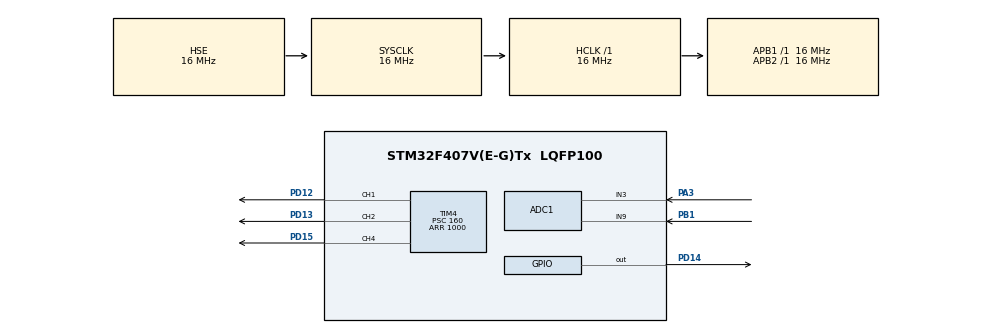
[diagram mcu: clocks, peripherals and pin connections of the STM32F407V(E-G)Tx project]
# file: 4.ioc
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ADC1.Channel-1\#ChannelRegularConversion=ADC_CHANNEL_9
ADC1.Channel-7\#ChannelInjectedConversion=ADC_CHANNEL_TEMPSENSOR
ADC1.Channel-8\#ChannelInjectedConversion=ADC_CHANNEL_3
ADC1.ContinuousConvMode=ENABLE
ADC1.EOCSelection=ADC_EOC_SINGLE_CONV
ADC1.ExternalTrigConv=ADC_SOFTWARE_START
ADC1.InjNumberOfConversion=2
ADC1.InjectedConvMode=AutoInjected
ADC1.InjectedOffset-7\#ChannelInjectedConversion=0
ADC1.InjectedOffset-8\#ChannelInjectedConversion=0
ADC1.InjectedRank-7\#ChannelInjectedConversion=1
ADC1.InjectedRank-8\#ChannelInjectedConversion=2
ADC1.NbrOfConversion=1
ADC1.NbrOfConversionFlag=1
ADC1.Rank-1\#ChannelRegularConversion=1
ADC1.SamplingTime-1\#ChannelRegularConversion=ADC_SAMPLETIME_480CYCLES
ADC1.SamplingTime-7\#ChannelInjectedConversion=ADC_SAMPLETIME_480CYCLES
ADC1.SamplingTime-8\#ChannelInjectedConversion=ADC_SAMPLETIME_480CYCLES
ADC1.master=1
Mcu.Family=STM32F4
Mcu.Name=STM32F407V(E-G)Tx
Mcu.Package=LQFP100
NVIC.ADC_IRQn=true\:0\:0\:false\:false\:true\:true\:true
NVIC.PriorityGroup=NVIC_PRIORITYGROUP_4
NVIC.RCC_IRQn=true\:0\:0\:false\:false\:true\:true\:false
NVIC.TIM3_IRQn=true\:0\:0\:false\:false\:true\:true\:true
NVIC.TIM4_IRQn=true\:0\:0\:false\:false\:true\:true\:true
PA3.Signal=ADCx_IN3
PB1.Signal=ADCx_IN9
PD12.Signal=S_TIM4_CH1
PD13.Signal=S_TIM4_CH2
PD14.Signal=GPIO_Output
PD15.Signal=S_TIM4_CH4
PH0-OSC_IN.Mode=HSE-External-Oscillator
PH0-OSC_IN.Signal=RCC_OSC_IN
PH1-OSC_OUT.Mode=HSE-External-Oscillator
PH1-OSC_OUT.Signal=RCC_OSC_OUT
ProjectManager.HeapSize=0x200
ProjectManager.StackSize=0x400
ProjectManager.TargetToolchain=STM32CubeIDE
RCC.AHBFreq_Value=16000000
RCC.APB1Freq_Value=16000000
RCC.APB2Freq_Value=16000000
RCC.CortexFreq_Value=16000000
RCC.HSE_VALUE=16000000
RCC.HSI_VALUE=16000000
RCC.LSE_VALUE=32768
RCC.PLLSourceVirtual=RCC_PLLSOURCE_HSE
RCC.SYSCLKFreq_VALUE=16000000
RCC.SYSCLKSource=RCC_SYSCLKSOURCE_HSE
RCC.VCOOutputFreq_Value=192000000
SH.ADCx_IN3.0=ADC1_IN3,IN3
SH.ADCx_IN9.0=ADC1_IN9,IN9
SH.S_TIM4_CH1.0=TIM4_CH1,PWM Generation1 CH1
SH.S_TIM4_CH2.0=TIM4_CH2,PWM Generation2 CH2
SH.S_TIM4_CH4.0=TIM4_CH4,PWM Generation4 CH4
TIM3.AutoReloadPreload=TIM_AUTORELOAD_PRELOAD_ENABLE
TIM3.Period=500
TIM3.Prescaler=16000
TIM4.AutoReloadPreload=TIM_AUTORELOAD_PRELOAD_ENABLE
TIM4.Channel-PWM\ Generation1\ CH1=TIM_CHANNEL_1
TIM4.Channel-PWM\ Generation2\ CH2=TIM_CHANNEL_2
TIM4.Channel-PWM\ Generation4\ CH4=TIM_CHANNEL_4
TIM4.OCFastMode_PWM-PWM\ Generation1\ CH1=TIM_OCFAST_ENABLE
TIM4.OCFastMode_PWM-PWM\ Generation2\ CH2=TIM_OCFAST_ENABLE
TIM4.Period=1000
TIM4.Prescaler=160
TIM4.Pulse-PWM\ Generation1\ CH1=500
TIM4.Pulse-PWM\ Generation2\ CH2=500
TIM4.Pulse-PWM\ Generation4\ CH4=500
VP_ADC1_TempSens_Input.Mode=IN-TempSens
VP_TIM3_VS_ClockSourceINT.Mode=Internal
board=custom

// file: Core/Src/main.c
/* USER CODE BEGIN Header */
/**
 ******************************************************************************
 * @file           : main.c
 * @brief          : Main program body
 ******************************************************************************
 * @attention
 *
 * <h2><center>&copy; Copyright (c) 2021 STMicroelectronics.
 * All rights reserved.</center></h2>
 *
 * This software component is licensed by ST under BSD 3-Clause license,
 * the "License"; You may not use this file except in compliance with the
 * License. You may obtain a copy of the License at:
 *                        opensource.org/licenses/BSD-3-Clause
 *
 ******************************************************************************
 */
/* USER CODE END Header */
#include "main.h"

ADC_HandleTypeDef hadc1;

TIM_HandleTypeDef htim3;
TIM_HandleTypeDef htim4;

void SystemClock_Config(void);
static void MX_GPIO_Init(void);
static void MX_ADC1_Init(void);
static void MX_TIM4_Init(void);
static void MX_TIM3_Init(void);
void IsAlert(uint16_t volt, uint16_t max, uint8_t *alert);

/* USER CODE BEGIN 0 */
uint16_t volt[3] = { 0 };
/* USER CODE END 0 */

int main(void)
{

  /* MCU Configuration--------------------------------------------------------*/

  /* Reset of all peripherals, Initializes the Flash interface and the Systick. */
  HAL_Init();

  /* Configure the system clock */
  SystemClock_Config();

  /* Initialize all configured peripherals */
  MX_GPIO_Init();
  MX_ADC1_Init();
  MX_TIM4_Init();
  MX_TIM3_Init();
  /* USER CODE BEGIN 2 */
	uint16_t max_volt[3] = { 2100, 1140, 4000 };
	uint16_t min_volt[3] = { 1500, 1040, 10 };
	uint16_t dng_lvl[3] = {8000, 3200, 1600};
	uint8_t alert[3] = { 0 };
	enum {
		In_9,
		In_16,
		In_3,
	};

	HAL_ADC_Start_IT(&hadc1);
	HAL_TIM_PWM_Start(&htim4, TIM_CHANNEL_1);
	HAL_TIM_PWM_Start(&htim4, TIM_CHANNEL_2);
	HAL_TIM_PWM_Start(&htim4, TIM_CHANNEL_4);
  /* USER CODE END 2 */

  /* Infinite loop */
  /* USER CODE BEGIN WHILE */
	while (1) {
//alert situation
		if (alert[In_9] || alert[In_3] || alert[In_16] != 0) {
			switch(alert[In_9] + alert[In_3] + alert[In_16]) {
				case 1:
					TIM3->PSC = dng_lvl[0];
					break;
				case 2:
					TIM3->PSC = dng_lvl[1];
					break;
				case 3:
					TIM3->PSC = dng_lvl[2];
					break;
			}
			HAL_TIM_Base_Start_IT(&htim3);
		} else {
			HAL_TIM_Base_Stop_IT(&htim3);
			HAL_GPIO_WritePin(GPIOD, GPIO_PIN_14, GPIO_PIN_RESET);
		}

//external resistor/volt falling
		if(max_volt[In_9] - volt[In_9] <= 0)
			TIM4->CCR1 = 0;
		else
			TIM4->CCR1 = (max_volt[In_9] - volt[In_9]) * (1.6);
		IsAlert(min_volt[In_9], volt[In_9], &alert[In_9]);

//internal resistor/volt rising
		if(volt[In_16] - min_volt[In_16] <= 0)
			TIM4->CCR2 = 0;
		else
			TIM4->CCR2 = (volt[In_16] - min_volt[In_16]) * (10);
		IsAlert(volt[In_16], max_volt[In_16], &alert[In_16]);

//potentiometer/volt rising
		TIM4->CCR4 = volt[In_3] / 4;
		IsAlert(volt[In_3], max_volt[In_3], &alert[In_3]);

    /* USER CODE END WHILE */

	}
}

void SystemClock_Config(void)
{
  RCC_OscInitTypeDef RCC_OscInitStruct = {0};
  RCC_ClkInitTypeDef RCC_ClkInitStruct = {0};

  /** Configure the main internal regulator output voltage
  */
  __HAL_RCC_PWR_CLK_ENABLE();
  __HAL_PWR_VOLTAGESCALING_CONFIG(PWR_REGULATOR_VOLTAGE_SCALE1);
  /** Initializes the RCC Oscillators according to the specified parameters
  * in the RCC_OscInitTypeDef structure.
  */
  RCC_OscInitStruct.OscillatorType = RCC_OSCILLATORTYPE_HSE;
  RCC_OscInitStruct.HSEState = RCC_HSE_ON;
  RCC_OscInitStruct.PLL.PLLState = RCC_PLL_NONE;
  if (HAL_RCC_OscConfig(&RCC_OscInitStruct) != HAL_OK)
  {
    Error_Handler();
  }
  /** Initializes the CPU, AHB and APB buses clocks
  */
  RCC_ClkInitStruct.ClockType = RCC_CLOCKTYPE_HCLK|RCC_CLOCKTYPE_SYSCLK
                              |RCC_CLOCKTYPE_PCLK1|RCC_CLOCKTYPE_PCLK2;
  RCC_ClkInitStruct.SYSCLKSource = RCC_SYSCLKSOURCE_HSE;
  RCC_ClkInitStruct.AHBCLKDivider = RCC_SYSCLK_DIV1;
  RCC_ClkInitStruct.APB1CLKDivider = RCC_HCLK_DIV1;
  RCC_ClkInitStruct.APB2CLKDivider = RCC_HCLK_DIV1;

  if (HAL_RCC_ClockConfig(&RCC_ClkInitStruct, FLASH_LATENCY_0) != HAL_OK)
  {
    Error_Handler();
  }
}

static void MX_ADC1_Init(void)
{

  ADC_ChannelConfTypeDef sConfig = {0};
  ADC_InjectionConfTypeDef sConfigInjected = {0};

  /** Configure the global features of the ADC (Clock, Resolution, Data Alignment and number of conversion)
  */
  hadc1.Instance = ADC1;
  hadc1.Init.ClockPrescaler = ADC_CLOCK_SYNC_PCLK_DIV2;
  hadc1.Init.Resolution = ADC_RESOLUTION_12B;
  hadc1.Init.ScanConvMode = ENABLE;
  hadc1.Init.ContinuousConvMode = ENABLE;
  hadc1.Init.DiscontinuousConvMode = DISABLE;
  hadc1.Init.ExternalTrigConvEdge = ADC_EXTERNALTRIGCONVEDGE_NONE;
  hadc1.Init.ExternalTrigConv = ADC_SOFTWARE_START;
  hadc1.Init.DataAlign = ADC_DATAALIGN_RIGHT;
  hadc1.Init.NbrOfConversion = 1;
  hadc1.Init.DMAContinuousRequests = DISABLE;
  hadc1.Init.EOCSelection = ADC_EOC_SINGLE_CONV;
  if (HAL_ADC_Init(&hadc1) != HAL_OK)
  {
    Error_Handler();
  }
  /** Configure for the selected ADC regular channel its corresponding rank in the sequencer and its sample time.
  */
  sConfig.Channel = ADC_CHANNEL_9;
  sConfig.Rank = 1;
  sConfig.SamplingTime = ADC_SAMPLETIME_480CYCLES;
  if (HAL_ADC_ConfigChannel(&hadc1, &sConfig) != HAL_OK)
  {
    Error_Handler();
  }
  /** Configures for the selected ADC injected channel its corresponding rank in the sequencer and its sample time
  */
  sConfigInjected.InjectedChannel = ADC_CHANNEL_TEMPSENSOR;
  sConfigInjected.InjectedRank = 1;
  sConfigInjected.InjectedNbrOfConversion = 2;
  sConfigInjected.InjectedSamplingTime = ADC_SAMPLETIME_480CYCLES;
  sConfigInjected.ExternalTrigInjecConvEdge = ADC_EXTERNALTRIGINJECCONVEDGE_NONE;
  sConfigInjected.ExternalTrigInjecConv = ADC_INJECTED_SOFTWARE_START;
  sConfigInjected.AutoInjectedConv = ENABLE;
  sConfigInjected.InjectedDiscontinuousConvMode = DISABLE;
  sConfigInjected.InjectedOffset = 0;
  if (HAL_ADCEx_InjectedConfigChannel(&hadc1, &sConfigInjected) != HAL_OK)
  {
    Error_Handler();
  }
  /** Configures for the selected ADC injected channel its corresponding rank in the sequencer and its sample time
  */
  sConfigInjected.InjectedChannel = ADC_CHANNEL_3;
  sConfigInjected.InjectedRank = 2;
  if (HAL_ADCEx_InjectedConfigChannel(&hadc1, &sConfigInjected) != HAL_OK)
  {
    Error_Handler();
  }

}

static void MX_TIM3_Init(void)
{

  TIM_ClockConfigTypeDef sClockSourceConfig = {0};
  TIM_MasterConfigTypeDef sMasterConfig = {0};

  htim3.Instance = TIM3;
  htim3.Init.Prescaler = 16000;
  htim3.Init.CounterMode = TIM_COUNTERMODE_UP;
  htim3.Init.Period = 500;
  htim3.Init.ClockDivision = TIM_CLOCKDIVISION_DIV1;
  htim3.Init.AutoReloadPreload = TIM_AUTORELOAD_PRELOAD_ENABLE;
  if (HAL_TIM_Base_Init(&htim3) != HAL_OK)
  {
    Error_Handler();
  }
  sClockSourceConfig.ClockSource = TIM_CLOCKSOURCE_INTERNAL;
  if (HAL_TIM_ConfigClockSource(&htim3, &sClockSourceConfig) != HAL_OK)
  {
    Error_Handler();
  }
  sMasterConfig.MasterOutputTrigger = TIM_TRGO_RESET;
  sMasterConfig.MasterSlaveMode = TIM_MASTERSLAVEMODE_DISABLE;
  if (HAL_TIMEx_MasterConfigSynchronization(&htim3, &sMasterConfig) != HAL_OK)
  {
    Error_Handler();
  }

}

static void MX_TIM4_Init(void)
{

  TIM_MasterConfigTypeDef sMasterConfig = {0};
  TIM_OC_InitTypeDef sConfigOC = {0};

  htim4.Instance = TIM4;
  htim4.Init.Prescaler = 160;
  htim4.Init.CounterMode = TIM_COUNTERMODE_UP;
  htim4.Init.Period = 1000;
  htim4.Init.ClockDivision = TIM_CLOCKDIVISION_DIV1;
  htim4.Init.AutoReloadPreload = TIM_AUTORELOAD_PRELOAD_ENABLE;
  if (HAL_TIM_PWM_Init(&htim4) != HAL_OK)
  {
    Error_Handler();
  }
  sMasterConfig.MasterOutputTrigger = TIM_TRGO_RESET;
  sMasterConfig.MasterSlaveMode = TIM_MASTERSLAVEMODE_DISABLE;
  if (HAL_TIMEx_MasterConfigSynchronization(&htim4, &sMasterConfig) != HAL_OK)
  {
    Error_Handler();
  }
  sConfigOC.OCMode = TIM_OCMODE_PWM1;
  sConfigOC.Pulse = 500;
  sConfigOC.OCPolarity = TIM_OCPOLARITY_HIGH;
  sConfigOC.OCFastMode = TIM_OCFAST_ENABLE;
  if (HAL_TIM_PWM_ConfigChannel(&htim4, &sConfigOC, TIM_CHANNEL_1) != HAL_OK)
  {
    Error_Handler();
  }
  if (HAL_TIM_PWM_ConfigChannel(&htim4, &sConfigOC, TIM_CHANNEL_2) != HAL_OK)
  {
    Error_Handler();
  }
  sConfigOC.OCFastMode = TIM_OCFAST_DISABLE;
  if (HAL_TIM_PWM_ConfigChannel(&htim4, &sConfigOC, TIM_CHANNEL_4) != HAL_OK)
  {
    Error_Handler();
  }
  HAL_TIM_MspPostInit(&htim4);

}

static void MX_GPIO_Init(void)
{
  GPIO_InitTypeDef GPIO_InitStruct = {0};

  /* GPIO Ports Clock Enable */
  __HAL_RCC_GPIOH_CLK_ENABLE();
  __HAL_RCC_GPIOA_CLK_ENABLE();
  __HAL_RCC_GPIOB_CLK_ENABLE();
  __HAL_RCC_GPIOD_CLK_ENABLE();

  /*Configure GPIO pin Output Level */
  HAL_GPIO_WritePin(GPIOD, GPIO_PIN_14, GPIO_PIN_RESET);

  /*Configure GPIO pin : PD14 */
  GPIO_InitStruct.Pin = GPIO_PIN_14;
  GPIO_InitStruct.Mode = GPIO_MODE_OUTPUT_PP;
  GPIO_InitStruct.Pull = GPIO_NOPULL;
  GPIO_InitStruct.Speed = GPIO_SPEED_FREQ_LOW;
  HAL_GPIO_Init(GPIOD, &GPIO_InitStruct);

}

/* USER CODE BEGIN 4 */
void HAL_ADC_ConvCpltCallback(ADC_HandleTypeDef *hadc) {
	volt[0] = HAL_ADC_GetValue(&hadc1);
	volt[1] = HAL_ADCEx_InjectedGetValue(&hadc1, ADC_INJECTED_RANK_1);
	volt[2] = HAL_ADCEx_InjectedGetValue(&hadc1, ADC_INJECTED_RANK_2);

}
void IsAlert(uint16_t volt, uint16_t max, uint8_t *alert) {
	if(volt >= max)
		*alert = 1;
	else
		*alert = 0;
}
/* USER CODE END 4 */

void Error_Handler(void)
{
	__disable_irq();
	while (1) {
	}
}

/************************ (C) COPYRIGHT STMicroelectronics *****END OF FILE****/
